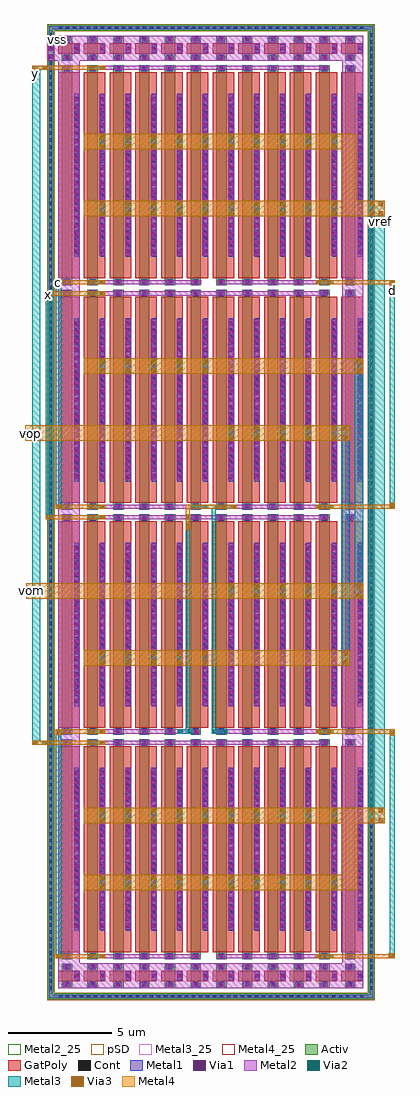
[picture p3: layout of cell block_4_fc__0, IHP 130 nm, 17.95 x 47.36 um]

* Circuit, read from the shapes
.subckt block_4_fc__0 c d vom vop vref vss x y
XM1 vss vss vss vss sg13_lv_nmos w=0.5u l=0.5u m=24
XM2 vss vss vss vss sg13_lv_nmos w=0.5u l=10u m=8
XM3 y vref d vss sg13_lv_nmos w=0.5u l=10u m=10
XM4 x vop d vss sg13_lv_nmos w=0.5u l=10u m=10
XM5 x vom c vss sg13_lv_nmos w=0.5u l=10u m=10
XM6 y vref c vss sg13_lv_nmos w=0.5u l=10u m=10
.ends

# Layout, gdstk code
from math import pi, radians
import gdstk
lib = gdstk.Library(unit=1e-6, precision=1e-09)
def R(c, l, rs):  # rectangles x0, y0, x1, y1
    for r in rs: c.add(gdstk.rectangle(r[:2], r[2:], *l))
def A(c, l, x, y, w, h, nx, ny, dx, dy):  # array of equal rectangles
    R(c, l, [(x+i*dx, y+j*dy, x+i*dx+w, y+j*dy+h) for i in range(nx) for j in range(ny)])
Activ = (1, 0)
GatPoly = (5, 0)
Cont = (6, 0)
Metal1 = (8, 0)
Metal2 = (10, 0)
Metal2_25 = (10, 25)
pSD = (14, 0)
Via1 = (19, 0)
Via2 = (29, 0)
Metal3 = (30, 0)
Metal3_25 = (30, 25)
Via3 = (49, 0)
Metal4 = (50, 0)
Metal4_25 = (50, 25)

sg13_lv_nmos_6qzvq2__0 = lib.new_cell('sg13_lv_nmos_6QZVQ2__0')
R(sg13_lv_nmos_6qzvq2__0, Activ, [(-0.59,-0.345,0.59,0.155)])
R(sg13_lv_nmos_6qzvq2__0, GatPoly, [(-0.25,-0.525,0.25,0.525)])
R(sg13_lv_nmos_6qzvq2__0, Cont, [(-0.52,-0.175,-0.36,-0.015), (0.36,-0.175,0.52,-0.015), (-0.08,0.295,0.08,0.455)])
R(sg13_lv_nmos_6qzvq2__0, Metal1, [(-0.59,-0.24,-0.29,0.05), (0.29,-0.24,0.59,0.05), (-0.215,0.27,0.215,0.48)])
R(sg13_lv_nmos_6qzvq2__0, Metal2, [(-0.54,-0.28,-0.34,0.09), (0.34,-0.28,0.54,0.09), (-0.11,0.23,0.11,0.52)])
R(sg13_lv_nmos_6qzvq2__0, Via1, [(-0.535,-0.19,-0.345,0), (0.345,-0.19,0.535,0), (-0.095,0.28,0.095,0.47)])
sg13_lv_nmos_6qzvq2__0.add(gdstk.Label('D', (-0.44,-0.095), layer=8, texttype=25))
sg13_lv_nmos_6qzvq2__0.add(gdstk.Label('S', (0.44,-0.095), layer=8, texttype=25))
sg13_lv_nmos_6qzvq2__0.add(gdstk.Label('G', (0,0.375), layer=8, texttype=25))

sg13_lv_nmos_ty7sk8__0 = lib.new_cell('sg13_lv_nmos_TY7SK8__0')
R(sg13_lv_nmos_ty7sk8__0, Activ, [(-5.34,-0.345,5.34,0.155)])
R(sg13_lv_nmos_ty7sk8__0, GatPoly, [(-5,-0.525,5,0.525)])
A(sg13_lv_nmos_ty7sk8__0, Cont, -3.82, 0.295, 0.16, 0.16, 23, 1, 0.34, 0)
R(sg13_lv_nmos_ty7sk8__0, Cont, [(-5.27,-0.175,-5.11,-0.015), (5.11,-0.175,5.27,-0.015)])
R(sg13_lv_nmos_ty7sk8__0, Metal1, [(-5.34,-0.24,-5.04,0.05), (5.04,-0.24,5.34,0.05), (-3.96,0.27,3.96,0.48)])
R(sg13_lv_nmos_ty7sk8__0, Metal2, [(-5.29,-0.28,-5.09,0.09), (5.09,-0.28,5.29,0.09), (-3.91,0.23,3.91,0.52)])
A(sg13_lv_nmos_ty7sk8__0, Via1, -3.785, 0.28, 0.19, 0.19, 19, 1, 0.41, 0)
R(sg13_lv_nmos_ty7sk8__0, Via1, [(-5.285,-0.19,-5.095,0), (5.095,-0.19,5.285,0)])
sg13_lv_nmos_ty7sk8__0.add(gdstk.Label('D', (-5.19,-0.095), layer=8, texttype=25))
sg13_lv_nmos_ty7sk8__0.add(gdstk.Label('S', (5.19,-0.095), layer=8, texttype=25))
sg13_lv_nmos_ty7sk8__0.add(gdstk.Label('G', (0,0.375), layer=8, texttype=25))

block_4_fc__0 = lib.new_cell('block_4_fc__0')
R(block_4_fc__0, Activ, [(-0.5,-1.95,15.35,-1.65), (-0.5,-1.65,-0.2,45.05), (15.05,-1.65,15.35,45.05), (14,21.35,14.35,21.55), (-0.5,45.05,15.35,45.35)])
A(block_4_fc__0, Cont, 0.035, -1.88, 0.16, 0.16, 44, 2, 0.34, 47)
A(block_4_fc__0, Cont, -0.43, -1.475, 0.16, 0.16, 1, 137, 0, 0.34)
A(block_4_fc__0, Cont, 15.12, -1.475, 0.16, 0.16, 1, 137, 0, 0.34)
A(block_4_fc__0, Metal1, 1.5, -1.35, 0.35, 0.2, 10, 2, 1.25, 0.9)
A(block_4_fc__0, Metal1, 1.5, 0.05, 0.35, 0.2, 10, 2, 1.25, 10.35)
A(block_4_fc__0, Metal1, 0.25, 10.95, 0.35, 0.2, 12, 2, 1.25, 10.4)
A(block_4_fc__0, Metal1, 0.25, 21.85, 0.35, 0.2, 12, 2, 1.25, 10.9)
A(block_4_fc__0, Metal1, 1.5, 32.2, 0.35, 0.2, 10, 2, 1.25, 12.3)
A(block_4_fc__0, Metal1, 0.25, 43.15, 0.35, 0.2, 12, 2, 1.25, 0.5)
R(block_4_fc__0, Metal1, [(-0.43,-1.88,15.28,-1.72), (-0.43,-1.72,-0.27,43.6), (15.12,-1.72,15.28,45.12), (0.25,-1.35,0.6,-1.1), (14,-1.35,14.35,-1.1), (0.25,-0.5,0.6,-0.25), (14,-0.5,14.35,-0.25), (0.25,0.05,0.6,0.3), (14,0.05,14.35,0.3), (0.25,10.45,0.6,10.65), (14,10.45,14.35,10.65), (0.25,32.25,0.6,32.45), (14,32.25,14.35,32.45), (-0.5,43.6,-0.2,44.8), (0.25,44.55,0.6,44.75), (14,44.55,14.35,44.75), (-0.43,44.8,-0.27,45.12), (-0.43,45.12,15.28,45.28)])
A(block_4_fc__0, Metal2, 2, 3.35, 0.3, 0.75, 10, 2, 1.25, 3.25)
A(block_4_fc__0, Metal2, 2, 14.25, 0.3, 0.75, 3, 1, 1.25, 0)
A(block_4_fc__0, Metal2, 8.25, 17.5, 0.3, 0.75, 4, 1, 1.25, 0)
A(block_4_fc__0, Metal2, 8.25, 25.15, 0.3, 0.75, 5, 1, 1.25, 0)
A(block_4_fc__0, Metal2, 2, 28.4, 0.3, 0.75, 5, 1, 1.25, 0)
A(block_4_fc__0, Metal2, 2, 36.05, 0.3, 0.75, 10, 2, 1.25, 3.25)
R(block_4_fc__0, Metal2, [(0,-1.4,14.8,-0.2), (0,-0.2,1.05,43.6), (13.8,-0.2,14.8,43.6), (1.45,0.05,6.85,0.25), (7.75,0.05,13.35,0.25), (1.45,10.4,13.1,10.6), (1.45,10.95,6.85,11.15), (7.45,10.95,13.35,11.15), (5.75,14.25,5.95,15), (7,14.25,7.2,15), (13.25,17.5,13.5,18.25), (1.45,21.35,13.1,21.55), (1.45,21.85,7.25,22.05), (7.75,21.85,13.35,22.05), (1.45,32.2,13.1,32.4), (1.45,32.75,6.95,32.95), (7.75,32.75,13.35,32.95), (1.45,43.15,13.1,43.35), (-0.5,43.6,14.8,44.8)])
R(block_4_fc__0, Metal2_25, [(-0.15,44.5,0.1,44.8)])
R(block_4_fc__0, pSD, [(-0.53,-1.98,15.38,-1.62), (-0.53,-1.62,-0.17,45.02), (15.02,-1.62,15.38,45.02), (-0.53,45.02,15.38,45.38)])
A(block_4_fc__0, Via1, -0.445, 43.695, 0.19, 0.19, 1, 3, 0, 0.41)
A(block_4_fc__0, Via2, 12.58, 0.055, 0.19, 0.19, 1, 4, 0, 10.9)
A(block_4_fc__0, Via2, 13.08, 0.055, 0.19, 0.19, 1, 4, 0, 10.9)
A(block_4_fc__0, Via2, 2.055, 3.405, 0.19, 0.19, 10, 2, 1.25, 0.45)
A(block_4_fc__0, Via2, 2.055, 6.655, 0.19, 0.19, 10, 2, 1.25, 0.45)
A(block_4_fc__0, Via2, 2.055, 14.305, 0.19, 0.19, 3, 2, 1.25, 0.45)
A(block_4_fc__0, Via2, 8.305, 17.555, 0.19, 0.19, 4, 2, 1.25, 0.45)
A(block_4_fc__0, Via2, 8.305, 25.205, 0.19, 0.19, 5, 2, 1.25, 0.45)
A(block_4_fc__0, Via2, 2.055, 28.455, 0.19, 0.19, 5, 2, 1.25, 0.45)
A(block_4_fc__0, Via2, 2.055, 36.105, 0.19, 0.19, 10, 2, 1.25, 0.45)
A(block_4_fc__0, Via2, 2.055, 39.355, 0.19, 0.19, 10, 2, 1.25, 0.45)
R(block_4_fc__0, Via2, [(1.53,0.055,1.72,0.245), (2.03,0.055,2.22,0.245), (1.53,10.405,1.72,10.595), (2.03,10.405,2.22,10.595), (1.53,10.955,1.72,11.145), (2.03,10.955,2.22,11.145), (5.855,10.955,6.045,11.145), (6.305,10.955,6.495,11.145), (7.505,10.955,7.695,11.145), (7.955,10.955,8.145,11.145), (5.755,14.305,5.945,14.495), (7.005,14.305,7.195,14.495), (5.755,14.755,5.945,14.945), (7.005,14.755,7.195,14.945), (13.28,17.555,13.47,17.745), (13.28,18.005,13.47,18.195), (1.53,21.355,1.72,21.545), (2.03,21.355,2.22,21.545), (1.53,21.855,1.72,22.045), (2.03,21.855,2.22,22.045), (6.555,21.855,6.745,22.045), (7.005,21.855,7.195,22.045), (7.955,21.855,8.145,22.045), (8.405,21.855,8.595,22.045), (1.53,32.205,1.72,32.395), (2.03,32.205,2.22,32.395), (1.53,32.755,1.72,32.945), (2.03,32.755,2.22,32.945), (1.53,43.155,1.72,43.345), (2.03,43.155,2.22,43.345)])
A(block_4_fc__0, Metal3, 12.5, 0.05, 0.85, 0.2, 1, 4, 0, 10.9)
A(block_4_fc__0, Metal3, 2, 3.35, 0.3, 0.75, 10, 2, 1.25, 3.25)
A(block_4_fc__0, Metal3, 2, 14.25, 0.3, 0.75, 3, 1, 1.25, 0)
A(block_4_fc__0, Metal3, 8.25, 17.5, 0.3, 0.75, 4, 2, 1.25, 7.65)
A(block_4_fc__0, Metal3, 2, 28.4, 0.3, 0.75, 5, 1, 1.25, 0)
A(block_4_fc__0, Metal3, 2, 36.05, 0.3, 0.75, 10, 2, 1.25, 3.25)
R(block_4_fc__0, Metal3, [(-0.1,0.05,0.2,0.25), (1.45,0.05,2.3,0.25), (16.05,0.05,16.35,0.3), (-0.1,0.25,0.15,10.9), (16.1,0.3,16.35,11.15), (15.05,6.6,15.85,36.8), (-1.25,10.4,-0.5,10.6), (1.45,10.4,2.3,10.6), (-1.25,10.6,-0.85,43.15), (-0.1,10.9,0.2,11.15), (1.45,10.95,2.3,11.15), (5.8,10.95,6.55,11.15), (7.45,10.95,8.2,11.15), (6.2,11.15,6.4,21.6), (7.45,11.15,7.65,21.85), (5.75,14.25,5.95,15), (7,14.25,7.2,15), (13.75,14.25,14.15,25.15), (13.25,17.5,13.5,18.25), (14.4,17.5,14.8,29.15), (-0.6,21.35,-0.25,21.55), (1.45,21.35,2.3,21.55), (-0.6,21.55,-0.35,32.4), (-0.1,21.85,0.2,22.05), (1.45,21.85,2.3,22.05), (6.5,21.85,7.65,22.05), (7.9,21.85,8.65,22.05), (16.1,21.85,16.35,32.95), (-0.1,22.05,0.15,32.75), (13.25,25.15,14.15,25.9), (1.45,32.2,2.3,32.4), (-0.1,32.75,0.2,32.95), (1.45,32.75,2.3,32.95), (-1.25,43.15,-0.5,43.35), (1.45,43.15,2.3,43.35)])
R(block_4_fc__0, Metal3_25, [(-0.6,32.1,-0.35,32.4), (16.1,32.3,16.35,32.6), (-0.1,32.7,0.15,32.95), (15.5,35.6,15.8,35.95), (-1.2,42.85,-0.95,43.15)])
A(block_4_fc__0, Via3, 12.58, 0.055, 0.19, 0.19, 1, 4, 0, 10.9)
A(block_4_fc__0, Via3, 13.08, 0.055, 0.19, 0.19, 1, 4, 0, 10.9)
A(block_4_fc__0, Via3, 2.055, 3.405, 0.19, 0.19, 10, 2, 1.25, 0.45)
A(block_4_fc__0, Via3, 2.055, 6.655, 0.19, 0.19, 10, 2, 1.25, 0.45)
A(block_4_fc__0, Via3, 2.055, 14.305, 0.19, 0.19, 3, 2, 1.25, 0.45)
A(block_4_fc__0, Via3, 8.305, 17.555, 0.19, 0.19, 4, 2, 1.25, 0.45)
A(block_4_fc__0, Via3, 8.305, 25.205, 0.19, 0.19, 5, 2, 1.25, 0.45)
A(block_4_fc__0, Via3, 2.055, 28.455, 0.19, 0.19, 5, 2, 1.25, 0.45)
A(block_4_fc__0, Via3, 2.055, 36.105, 0.19, 0.19, 10, 2, 1.25, 0.45)
A(block_4_fc__0, Via3, 2.055, 39.355, 0.19, 0.19, 10, 2, 1.25, 0.45)
R(block_4_fc__0, Via3, [(-0.045,0.055,0.145,0.245), (1.53,0.055,1.72,0.245), (2.03,0.055,2.22,0.245), (16.105,0.105,16.295,0.295), (15.15,6.655,15.34,6.845), (15.56,6.655,15.75,6.845), (15.15,7.105,15.34,7.295), (15.56,7.105,15.75,7.295), (-1.195,10.405,-1.005,10.595), (-0.745,10.405,-0.555,10.595), (1.53,10.405,1.72,10.595), (2.03,10.405,2.22,10.595), (-0.045,10.905,0.145,11.095), (16.13,10.905,16.32,11.095), (1.53,10.955,1.72,11.145), (2.03,10.955,2.22,11.145), (5.755,14.305,5.945,14.495), (7.005,14.305,7.195,14.495), (13.855,14.305,14.045,14.495), (5.755,14.755,5.945,14.945), (7.005,14.755,7.195,14.945), (13.855,14.755,14.045,14.945), (13.28,17.555,13.47,17.745), (14.505,17.555,14.695,17.745), (13.28,18.005,13.47,18.195), (14.505,18.005,14.695,18.195), (6.205,20.905,6.395,21.095), (-0.545,21.355,-0.355,21.545), (1.53,21.355,1.72,21.545), (2.03,21.355,2.22,21.545), (6.205,21.355,6.395,21.545), (-0.045,21.855,0.145,22.045), (1.53,21.855,1.72,22.045), (2.03,21.855,2.22,22.045), (7.955,21.855,8.145,22.045), (8.405,21.855,8.595,22.045), (16.13,21.905,16.32,22.095), (13.855,25.205,14.045,25.395), (13.855,25.655,14.045,25.845), (14.505,28.455,14.695,28.645), (14.505,28.905,14.695,29.095), (-0.57,32.155,-0.38,32.345), (1.53,32.205,1.72,32.395), (2.03,32.205,2.22,32.395), (16.13,32.705,16.32,32.895), (-0.045,32.755,0.145,32.945), (1.53,32.755,1.72,32.945), (2.03,32.755,2.22,32.945), (15.15,36.105,15.34,36.295), (15.56,36.105,15.75,36.295), (15.15,36.555,15.34,36.745), (15.56,36.555,15.75,36.745), (-1.195,43.155,-1.005,43.345), (-0.745,43.155,-0.555,43.345), (1.53,43.155,1.72,43.345), (2.03,43.155,2.22,43.345)])
A(block_4_fc__0, Metal4, -0.1, 0.05, 2.4, 0.2, 1, 4, 0, 10.9)
A(block_4_fc__0, Metal4, 12.5, 0.05, 3.85, 0.2, 1, 4, 0, 10.9)
R(block_4_fc__0, Metal4, [(16.05,0.25,16.35,0.3), (1.25,3.35,14.55,4.1), (13.75,4.1,14.55,6.6), (1.25,6.6,15.85,7.35), (-1.25,10.4,2.3,10.6), (16.1,10.85,16.35,10.95), (-0.1,10.9,0.2,10.95), (1.25,14.25,14.15,15), (-1.55,17.5,14.8,18.25), (6.2,20.85,6.4,21.85), (-0.6,21.35,2.3,21.55), (6.2,21.85,8.65,22.05), (16.1,22.05,16.35,22.15), (-1.6,25.15,14.15,25.9), (1.25,28.4,14.8,29.15), (-0.6,32.1,-0.35,32.2), (-0.6,32.2,2.3,32.4), (16.1,32.65,16.35,32.75), (1.25,36.05,15.85,36.8), (13.75,36.8,14.5,39.3), (1.25,39.3,14.5,40.05), (-1.25,43.15,2.3,43.35)])
R(block_4_fc__0, Metal4_25, [(-1.45,17.7,-1.1,18.05), (-1.5,25.35,-1.15,25.7)])
block_4_fc__0.add(gdstk.Reference(sg13_lv_nmos_6qzvq2__0, (0.525,-0.81), rotation=3*pi/2))
block_4_fc__0.add(gdstk.Reference(sg13_lv_nmos_ty7sk8__0, (0.525,5.34), rotation=3*pi/2))
block_4_fc__0.add(gdstk.Reference(sg13_lv_nmos_6qzvq2__0, (1.775,-0.81), rotation=3*pi/2))
block_4_fc__0.add(gdstk.Reference(sg13_lv_nmos_ty7sk8__0, (1.775,5.34), rotation=3*pi/2))
block_4_fc__0.add(gdstk.Reference(sg13_lv_nmos_6qzvq2__0, (3.025,-0.81), rotation=3*pi/2))
block_4_fc__0.add(gdstk.Reference(sg13_lv_nmos_ty7sk8__0, (3.025,5.34), rotation=3*pi/2))
block_4_fc__0.add(gdstk.Reference(sg13_lv_nmos_6qzvq2__0, (4.275,-0.81), rotation=3*pi/2))
block_4_fc__0.add(gdstk.Reference(sg13_lv_nmos_ty7sk8__0, (4.275,5.34), rotation=3*pi/2))
block_4_fc__0.add(gdstk.Reference(sg13_lv_nmos_6qzvq2__0, (5.525,-0.81), rotation=3*pi/2))
block_4_fc__0.add(gdstk.Reference(sg13_lv_nmos_ty7sk8__0, (5.525,5.34), rotation=3*pi/2))
block_4_fc__0.add(gdstk.Reference(sg13_lv_nmos_6qzvq2__0, (6.775,-0.81), rotation=3*pi/2))
block_4_fc__0.add(gdstk.Reference(sg13_lv_nmos_ty7sk8__0, (6.775,5.34), rotation=3*pi/2))
block_4_fc__0.add(gdstk.Reference(sg13_lv_nmos_6qzvq2__0, (8.025,-0.81), rotation=3*pi/2))
block_4_fc__0.add(gdstk.Reference(sg13_lv_nmos_ty7sk8__0, (8.025,5.34), rotation=3*pi/2))
block_4_fc__0.add(gdstk.Reference(sg13_lv_nmos_6qzvq2__0, (9.275,-0.81), rotation=3*pi/2))
block_4_fc__0.add(gdstk.Reference(sg13_lv_nmos_ty7sk8__0, (9.275,5.34), rotation=3*pi/2))
block_4_fc__0.add(gdstk.Reference(sg13_lv_nmos_6qzvq2__0, (10.525,-0.81), rotation=3*pi/2))
block_4_fc__0.add(gdstk.Reference(sg13_lv_nmos_ty7sk8__0, (10.525,5.34), rotation=3*pi/2))
block_4_fc__0.add(gdstk.Reference(sg13_lv_nmos_6qzvq2__0, (11.775,-0.81), rotation=3*pi/2))
block_4_fc__0.add(gdstk.Reference(sg13_lv_nmos_ty7sk8__0, (11.775,5.34), rotation=3*pi/2))
block_4_fc__0.add(gdstk.Reference(sg13_lv_nmos_6qzvq2__0, (13.025,-0.81), rotation=3*pi/2))
block_4_fc__0.add(gdstk.Reference(sg13_lv_nmos_ty7sk8__0, (13.025,5.34), rotation=3*pi/2))
block_4_fc__0.add(gdstk.Reference(sg13_lv_nmos_6qzvq2__0, (14.275,-0.81), rotation=3*pi/2))
block_4_fc__0.add(gdstk.Reference(sg13_lv_nmos_ty7sk8__0, (14.275,5.34), rotation=3*pi/2))
block_4_fc__0.add(gdstk.Reference(sg13_lv_nmos_ty7sk8__0, (0.525,16.24), rotation=3*pi/2))
block_4_fc__0.add(gdstk.Reference(sg13_lv_nmos_ty7sk8__0, (1.775,16.24), rotation=3*pi/2))
block_4_fc__0.add(gdstk.Reference(sg13_lv_nmos_ty7sk8__0, (3.025,16.24), rotation=3*pi/2))
block_4_fc__0.add(gdstk.Reference(sg13_lv_nmos_ty7sk8__0, (4.275,16.24), rotation=3*pi/2))
block_4_fc__0.add(gdstk.Reference(sg13_lv_nmos_ty7sk8__0, (5.525,16.24), rotation=3*pi/2))
block_4_fc__0.add(gdstk.Reference(sg13_lv_nmos_ty7sk8__0, (6.775,16.24), rotation=3*pi/2))
block_4_fc__0.add(gdstk.Reference(sg13_lv_nmos_ty7sk8__0, (8.025,16.24), rotation=3*pi/2))
block_4_fc__0.add(gdstk.Reference(sg13_lv_nmos_ty7sk8__0, (9.275,16.24), rotation=3*pi/2))
block_4_fc__0.add(gdstk.Reference(sg13_lv_nmos_ty7sk8__0, (10.525,16.24), rotation=3*pi/2))
block_4_fc__0.add(gdstk.Reference(sg13_lv_nmos_ty7sk8__0, (11.775,16.24), rotation=3*pi/2))
block_4_fc__0.add(gdstk.Reference(sg13_lv_nmos_ty7sk8__0, (13.025,16.24), rotation=3*pi/2))
block_4_fc__0.add(gdstk.Reference(sg13_lv_nmos_ty7sk8__0, (14.275,16.24), rotation=3*pi/2))
block_4_fc__0.add(gdstk.Reference(sg13_lv_nmos_ty7sk8__0, (0.525,27.14), rotation=3*pi/2))
block_4_fc__0.add(gdstk.Reference(sg13_lv_nmos_ty7sk8__0, (1.775,27.14), rotation=3*pi/2))
block_4_fc__0.add(gdstk.Reference(sg13_lv_nmos_ty7sk8__0, (3.025,27.14), rotation=3*pi/2))
block_4_fc__0.add(gdstk.Reference(sg13_lv_nmos_ty7sk8__0, (4.275,27.14), rotation=3*pi/2))
block_4_fc__0.add(gdstk.Reference(sg13_lv_nmos_ty7sk8__0, (5.525,27.14), rotation=3*pi/2))
block_4_fc__0.add(gdstk.Reference(sg13_lv_nmos_ty7sk8__0, (6.775,27.14), rotation=3*pi/2))
block_4_fc__0.add(gdstk.Reference(sg13_lv_nmos_ty7sk8__0, (8.025,27.14), rotation=3*pi/2))
block_4_fc__0.add(gdstk.Reference(sg13_lv_nmos_ty7sk8__0, (9.275,27.14), rotation=3*pi/2))
block_4_fc__0.add(gdstk.Reference(sg13_lv_nmos_ty7sk8__0, (10.525,27.14), rotation=3*pi/2))
block_4_fc__0.add(gdstk.Reference(sg13_lv_nmos_ty7sk8__0, (11.775,27.14), rotation=3*pi/2))
block_4_fc__0.add(gdstk.Reference(sg13_lv_nmos_ty7sk8__0, (13.025,27.14), rotation=3*pi/2))
block_4_fc__0.add(gdstk.Reference(sg13_lv_nmos_ty7sk8__0, (14.275,27.14), rotation=3*pi/2))
block_4_fc__0.add(gdstk.Reference(sg13_lv_nmos_ty7sk8__0, (0.525,38.04), rotation=3*pi/2))
block_4_fc__0.add(gdstk.Reference(sg13_lv_nmos_ty7sk8__0, (1.775,38.04), rotation=3*pi/2))
block_4_fc__0.add(gdstk.Reference(sg13_lv_nmos_ty7sk8__0, (3.025,38.04), rotation=3*pi/2))
block_4_fc__0.add(gdstk.Reference(sg13_lv_nmos_ty7sk8__0, (4.275,38.04), rotation=3*pi/2))
block_4_fc__0.add(gdstk.Reference(sg13_lv_nmos_ty7sk8__0, (5.525,38.04), rotation=3*pi/2))
block_4_fc__0.add(gdstk.Reference(sg13_lv_nmos_ty7sk8__0, (6.775,38.04), rotation=3*pi/2))
block_4_fc__0.add(gdstk.Reference(sg13_lv_nmos_ty7sk8__0, (8.025,38.04), rotation=3*pi/2))
block_4_fc__0.add(gdstk.Reference(sg13_lv_nmos_ty7sk8__0, (9.275,38.04), rotation=3*pi/2))
block_4_fc__0.add(gdstk.Reference(sg13_lv_nmos_ty7sk8__0, (10.525,38.04), rotation=3*pi/2))
block_4_fc__0.add(gdstk.Reference(sg13_lv_nmos_ty7sk8__0, (11.775,38.04), rotation=3*pi/2))
block_4_fc__0.add(gdstk.Reference(sg13_lv_nmos_ty7sk8__0, (13.025,38.04), rotation=3*pi/2))
block_4_fc__0.add(gdstk.Reference(sg13_lv_nmos_ty7sk8__0, (14.275,38.04), rotation=3*pi/2))
block_4_fc__0.add(gdstk.Reference(sg13_lv_nmos_6qzvq2__0, (0.525,44.19), rotation=3*pi/2))
block_4_fc__0.add(gdstk.Reference(sg13_lv_nmos_6qzvq2__0, (1.775,44.19), rotation=3*pi/2))
block_4_fc__0.add(gdstk.Reference(sg13_lv_nmos_6qzvq2__0, (3.025,44.19), rotation=3*pi/2))
block_4_fc__0.add(gdstk.Reference(sg13_lv_nmos_6qzvq2__0, (4.275,44.19), rotation=3*pi/2))
block_4_fc__0.add(gdstk.Reference(sg13_lv_nmos_6qzvq2__0, (5.525,44.19), rotation=3*pi/2))
block_4_fc__0.add(gdstk.Reference(sg13_lv_nmos_6qzvq2__0, (6.775,44.19), rotation=3*pi/2))
block_4_fc__0.add(gdstk.Reference(sg13_lv_nmos_6qzvq2__0, (8.025,44.19), rotation=3*pi/2))
block_4_fc__0.add(gdstk.Reference(sg13_lv_nmos_6qzvq2__0, (9.275,44.19), rotation=3*pi/2))
block_4_fc__0.add(gdstk.Reference(sg13_lv_nmos_6qzvq2__0, (10.525,44.19), rotation=3*pi/2))
block_4_fc__0.add(gdstk.Reference(sg13_lv_nmos_6qzvq2__0, (11.775,44.19), rotation=3*pi/2))
block_4_fc__0.add(gdstk.Reference(sg13_lv_nmos_6qzvq2__0, (13.025,44.19), rotation=3*pi/2))
block_4_fc__0.add(gdstk.Reference(sg13_lv_nmos_6qzvq2__0, (14.275,44.19), rotation=3*pi/2))
block_4_fc__0.add(gdstk.Label('vop', (-1.325,25.525), layer=50, texttype=25))
block_4_fc__0.add(gdstk.Label('vom', (-1.275,17.875), layer=50, texttype=25))
block_4_fc__0.add(gdstk.Label('vref', (15.65,35.775), layer=30, texttype=25))
block_4_fc__0.add(gdstk.Label('vss', (-0.025,44.65), layer=10, texttype=25))
block_4_fc__0.add(gdstk.Label('y', (-1.075,43), layer=30, texttype=25))
block_4_fc__0.add(gdstk.Label('x', (-0.475,32.25), layer=30, texttype=25))
block_4_fc__0.add(gdstk.Label('c', (0.025,32.825), layer=30, texttype=25))
block_4_fc__0.add(gdstk.Label('d', (16.225,32.45), layer=30, texttype=25))

lib.write_gds('block_4_fc__0.gds')
